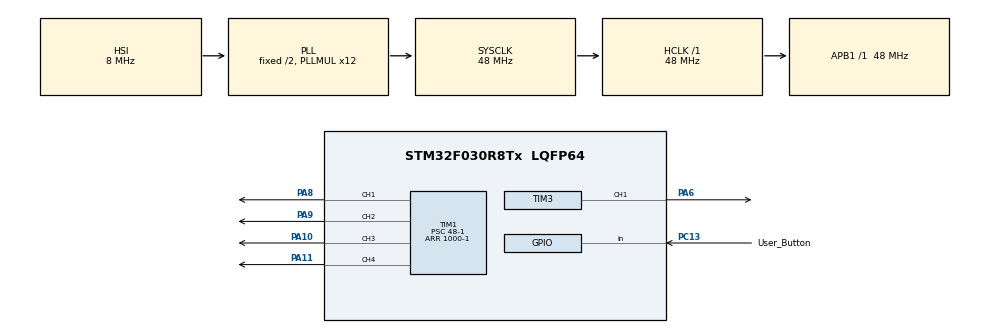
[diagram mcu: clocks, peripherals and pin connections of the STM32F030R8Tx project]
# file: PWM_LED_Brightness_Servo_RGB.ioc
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Mcu.Family=STM32F0
Mcu.Name=STM32F030R8Tx
Mcu.Package=LQFP64
PA10.Signal=S_TIM1_CH3
PA11.Signal=S_TIM1_CH4
PA13.Mode=Serial_Wire
PA13.Signal=SYS_SWDIO
PA14.Mode=Serial_Wire
PA14.Signal=SYS_SWCLK
PA6.Signal=S_TIM3_CH1
PA8.Signal=S_TIM1_CH1
PA9.Signal=S_TIM1_CH2
PC13.GPIO_Label=User_Button
PC13.Signal=GPIO_Input
ProjectManager.HeapSize=0x200
ProjectManager.StackSize=0x400
ProjectManager.TargetToolchain=STM32CubeIDE
RCC.AHBFreq_Value=48000000
RCC.APB1Freq_Value=48000000
RCC.APB1TimFreq_Value=48000000
RCC.HCLKFreq_Value=48000000
RCC.PLLMUL=RCC_PLL_MUL12
RCC.SYSCLKFreq_VALUE=48000000
RCC.SYSCLKSource=RCC_SYSCLKSOURCE_PLLCLK
SH.S_TIM1_CH1.0=TIM1_CH1,PWM Generation1 CH1
SH.S_TIM1_CH2.0=TIM1_CH2,PWM Generation2 CH2
SH.S_TIM1_CH3.0=TIM1_CH3,PWM Generation3 CH3
SH.S_TIM1_CH4.0=TIM1_CH4,PWM Generation4 CH4
SH.S_TIM3_CH1.0=TIM3_CH1,PWM Generation1 CH1
TIM1.Channel-PWM\ Generation1\ CH1=TIM_CHANNEL_1
TIM1.Channel-PWM\ Generation2\ CH2=TIM_CHANNEL_2
TIM1.Channel-PWM\ Generation3\ CH3=TIM_CHANNEL_3
TIM1.Channel-PWM\ Generation4\ CH4=TIM_CHANNEL_4
TIM1.Period=1000-1
TIM1.Prescaler=48-1
TIM3.Channel-PWM\ Generation1\ CH1=TIM_CHANNEL_1
TIM3.Period=20000-1
TIM3.Prescaler=48-1
VP_TIM1_VS_ClockSourceINT.Mode=Internal
VP_TIM3_VS_ClockSourceINT.Mode=Internal
board=NUCLEO-F030R8

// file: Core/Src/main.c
/* USER CODE BEGIN Header */
/**
 ******************************************************************************
 * @file           : main.c
 * @brief          : Main program body
 ******************************************************************************
 * @attention
 *
 * Copyright (c) 2026 STMicroelectronics.
 * All rights reserved.
 *
 * This software is licensed under terms that can be found in the LICENSE file
 * in the root directory of this software component.
 * If no LICENSE file comes with this software, it is provided AS-IS.
 *
 ******************************************************************************
 */
/* USER CODE END Header */
#include "main.h"

TIM_HandleTypeDef htim1;
TIM_HandleTypeDef htim3;

/* USER CODE BEGIN PV */
uint8_t rgb_state = 0; // Butona basılma durumunu tutar (0: Kapalı, 1: Kırmızı, 2: Yeşil, 3: Mavi)
uint8_t button_last_state = 1; // Butonun önceki durumu (Pull-up buton için varsayılan 1)
int16_t servo_angle = 0;       // Servo açısı (0 - 180 arası)
int8_t servo_direction = 1;    // Servo yönü (+1 ileri, -1 geri)
uint32_t led_last_tick = 0;      // PA8 LED parlaklık zamanlayıcısı için
uint8_t led_duty_index = 0;      // 0,25,50,75,100 sırasını takip eder
const uint8_t led_duty_steps[5] = { 0, 25, 50, 75, 100 };	//sabit duty değerlerini saklamak için oluşturuldu
/* USER CODE END PV */

void SystemClock_Config(void);
static void MX_GPIO_Init(void);
static void MX_TIM1_Init(void);
static void MX_TIM3_Init(void);

/* USER CODE BEGIN 0 */
void Set_PWM_Duty_Cycle(uint16_t duty) {	//bu fonksiyon, LED parlaklığını ayarlamak için duty cycle değiştirmek için yazıldı
	if (duty > 100) {
		duty = 100;   // 100'ü aşan değerleri sınırla
	}
	__HAL_TIM_SET_COMPARE(&htim1, TIM_CHANNEL_1, duty * 10);	//Bu makro, STM32 mikrodenetleyicilerinde üretilen PWM sinyalinin Duty Cycle (Görev Döngüsü / Doluluk Oranı) değerini anlık olarak değiştirmek için kullanılan donanımsal bir makro komuttur. Bu komut, doğrudan ilgili Timer'ın CCR (Capture/Compare Register) adındaki donanım kaydına (hafıza hücresine) belirlediğiniz "Pulse" (adım) değerini yazar. Bu komut arka planda karmaşık C kodları çalıştırmaz. Doğrudan işlemcinin register adresine eriştiği için sadece 1 veya 2 saat çevriminde (birkaç nanosaniyede) tamamlanır. Bu sayede motor kontrolü veya hassas LED parlaklık ayarı yaparken işlemciyi hiç yormaz ve gecikmeye neden olmaz.
}
/* USER CODE END 0 */

int main(void) {

	/* MCU Configuration--------------------------------------------------------*/

	/* Reset of all peripherals, Initializes the Flash interface and the Systick. */
	HAL_Init();

	/* Configure the system clock */
	SystemClock_Config();

	/* Initialize all configured peripherals */
	MX_GPIO_Init();
	MX_TIM1_Init();
	MX_TIM3_Init();
	/* USER CODE BEGIN 2 */
	HAL_TIM_PWM_Start(&htim1, TIM_CHANNEL_1); //timer1 in kanal1 den PWM baslatmasi icin yazildi, LED parlaklığı ayarlanacak
	HAL_TIM_PWM_Start(&htim1, TIM_CHANNEL_2); //timer1 in kanal2 den PWM baslatmasi icin yazildi, RGB - Kırmızı
	HAL_TIM_PWM_Start(&htim1, TIM_CHANNEL_3); //timer1 in kanal3 den PWM baslatmasi icin yazildi, RGB - Yeşil
	HAL_TIM_PWM_Start(&htim1, TIM_CHANNEL_4); //timer1 in kanal4 den PWM baslatmasi icin yazildi, RGB - Mavi

	// Timer 3 PWM Kanalını Başlat (Servo için)
	HAL_TIM_PWM_Start(&htim3, TIM_CHANNEL_1); //timer3 ün kanal1 den PWM baslatmasi icin yazildi, servo kontrol MG995

	/* USER CODE END 2 */

	/* Infinite loop */
	/* USER CODE BEGIN WHILE */
	while (1) {
		/* --- 1. BUTON VE RGB LED KONTROLÜ --- */
		// Butonun basılıp basılmadığını kontrol et (Mavi buton basılınca 0 verir)
		uint8_t button_current_state = HAL_GPIO_ReadPin(GPIOC, GPIO_PIN_13);

		if (button_current_state == 0 && button_last_state == 1) // Yükselen kenar/Düşen kenar kontrolü (Debounce koruması ile)
				{
			HAL_Delay(50); // Buton arkını (titreşimi) önlemek için kısa gecikme

			rgb_state++;
			if (rgb_state > 3)
				rgb_state = 1; // 1: Kırmızı, 2: Yeşil, 3: Mavi döngüsü

			// Önce tüm RGB renkleri kapat (ARR=999 için Pulse=0 tamamen kapatır)
			__HAL_TIM_SET_COMPARE(&htim1, TIM_CHANNEL_2, 0);
			__HAL_TIM_SET_COMPARE(&htim1, TIM_CHANNEL_3, 0);
			__HAL_TIM_SET_COMPARE(&htim1, TIM_CHANNEL_4, 0);

			// Aktif olan rengi %100 parlaklıkta yak (Pulse=999)
			if (rgb_state == 1)
				__HAL_TIM_SET_COMPARE(&htim1, TIM_CHANNEL_2, 999); // Kırmızı Açık
			else if (rgb_state == 2)
				__HAL_TIM_SET_COMPARE(&htim1, TIM_CHANNEL_3, 999); // Yeşil Açık
			else if (rgb_state == 3)
				__HAL_TIM_SET_COMPARE(&htim1, TIM_CHANNEL_4, 999); // Mavi Açık
		}
		button_last_state = button_current_state;

		/* --- 2. SERVO MOTOR 0-180 DERECE HAREKETİ --- */
		// MG995 için: 0 derece = 1ms pulse (Pulse değeri 1000)
		// 180 derece = 2ms pulse (Pulse değeri 2000)
		// Açı değerini pulse değerine doğrusal (map) olarak dönüştürüyoruz:
		uint16_t servo_pulse = 1000 + ((servo_angle * 1000) / 180);
		__HAL_TIM_SET_COMPARE(&htim3, TIM_CHANNEL_1, servo_pulse);

		// Açıyı sürekli değiştirerek ileri-geri hareket ettir
		servo_angle += servo_direction;
		if (servo_angle >= 180) {
			servo_angle = 180;
			servo_direction = -1; // Ters yöne dön
		} else if (servo_angle <= 0) {
			servo_angle = 0;
			servo_direction = 1;  // İleri yöne dön
		}

		/* --- 3. PA8 LED PARLAKLIK KONTROLÜ (1 SANİYEDE BİR ARTAN DUTY CYCLE) --- */
		if (HAL_GetTick() - led_last_tick >= 1000) {
			led_last_tick = HAL_GetTick();

			Set_PWM_Duty_Cycle(led_duty_steps[led_duty_index]);

			led_duty_index++;
			if (led_duty_index >= 5) {
				led_duty_index = 0;   // 0'a dön, döngü baştan başlasın
			}
		}

		HAL_Delay(15); // Servonun mekanik olarak yetişebilmesi ve hareketin yumuşak olması için küçük bir bekleme
		/* USER CODE END WHILE */

		/* USER CODE BEGIN 3 */
		/*
		 Set_PWM_Duty_Cycle(0);
		 HAL_Delay(1000);

		 Set_PWM_Duty_Cycle(25);
		 HAL_Delay(1000);

		 Set_PWM_Duty_Cycle(50);
		 HAL_Delay(1000);

		 Set_PWM_Duty_Cycle(75);
		 HAL_Delay(1000);

		 Set_PWM_Duty_Cycle(100);
		 HAL_Delay(1000);
		 */
	}
	/* USER CODE END 3 */
}

void SystemClock_Config(void) {
	RCC_OscInitTypeDef RCC_OscInitStruct = { 0 };
	RCC_ClkInitTypeDef RCC_ClkInitStruct = { 0 };

	/** Initializes the RCC Oscillators according to the specified parameters
	 * in the RCC_OscInitTypeDef structure.
	 */
	RCC_OscInitStruct.OscillatorType = RCC_OSCILLATORTYPE_HSI;
	RCC_OscInitStruct.HSIState = RCC_HSI_ON;
	RCC_OscInitStruct.HSICalibrationValue = RCC_HSICALIBRATION_DEFAULT;
	RCC_OscInitStruct.PLL.PLLState = RCC_PLL_ON;
	RCC_OscInitStruct.PLL.PLLSource = RCC_PLLSOURCE_HSI;
	RCC_OscInitStruct.PLL.PLLMUL = RCC_PLL_MUL12;
	RCC_OscInitStruct.PLL.PREDIV = RCC_PREDIV_DIV1;
	if (HAL_RCC_OscConfig(&RCC_OscInitStruct) != HAL_OK) {
		Error_Handler();
	}

	/** Initializes the CPU, AHB and APB buses clocks
	 */
	RCC_ClkInitStruct.ClockType = RCC_CLOCKTYPE_HCLK | RCC_CLOCKTYPE_SYSCLK
			| RCC_CLOCKTYPE_PCLK1;
	RCC_ClkInitStruct.SYSCLKSource = RCC_SYSCLKSOURCE_PLLCLK;
	RCC_ClkInitStruct.AHBCLKDivider = RCC_SYSCLK_DIV1;
	RCC_ClkInitStruct.APB1CLKDivider = RCC_HCLK_DIV1;

	if (HAL_RCC_ClockConfig(&RCC_ClkInitStruct, FLASH_LATENCY_1) != HAL_OK) {
		Error_Handler();
	}
}

static void MX_TIM1_Init(void) {

	TIM_ClockConfigTypeDef sClockSourceConfig = { 0 };
	TIM_MasterConfigTypeDef sMasterConfig = { 0 };
	TIM_OC_InitTypeDef sConfigOC = { 0 };
	TIM_BreakDeadTimeConfigTypeDef sBreakDeadTimeConfig = { 0 };

	htim1.Instance = TIM1;
	htim1.Init.Prescaler = 48 - 1;
	htim1.Init.CounterMode = TIM_COUNTERMODE_UP;
	htim1.Init.Period = 1000 - 1;
	htim1.Init.ClockDivision = TIM_CLOCKDIVISION_DIV1;
	htim1.Init.RepetitionCounter = 0;
	htim1.Init.AutoReloadPreload = TIM_AUTORELOAD_PRELOAD_DISABLE;
	if (HAL_TIM_Base_Init(&htim1) != HAL_OK) {
		Error_Handler();
	}
	sClockSourceConfig.ClockSource = TIM_CLOCKSOURCE_INTERNAL;
	if (HAL_TIM_ConfigClockSource(&htim1, &sClockSourceConfig) != HAL_OK) {
		Error_Handler();
	}
	if (HAL_TIM_PWM_Init(&htim1) != HAL_OK) {
		Error_Handler();
	}
	sMasterConfig.MasterOutputTrigger = TIM_TRGO_RESET;
	sMasterConfig.MasterSlaveMode = TIM_MASTERSLAVEMODE_DISABLE;
	if (HAL_TIMEx_MasterConfigSynchronization(&htim1, &sMasterConfig)
			!= HAL_OK) {
		Error_Handler();
	}
	sConfigOC.OCMode = TIM_OCMODE_PWM1;
	sConfigOC.Pulse = 0;
	sConfigOC.OCPolarity = TIM_OCPOLARITY_HIGH;
	sConfigOC.OCNPolarity = TIM_OCNPOLARITY_HIGH;
	sConfigOC.OCFastMode = TIM_OCFAST_DISABLE;
	sConfigOC.OCIdleState = TIM_OCIDLESTATE_RESET;
	sConfigOC.OCNIdleState = TIM_OCNIDLESTATE_RESET;
	if (HAL_TIM_PWM_ConfigChannel(&htim1, &sConfigOC, TIM_CHANNEL_1)
			!= HAL_OK) {
		Error_Handler();
	}
	if (HAL_TIM_PWM_ConfigChannel(&htim1, &sConfigOC, TIM_CHANNEL_2)
			!= HAL_OK) {
		Error_Handler();
	}
	if (HAL_TIM_PWM_ConfigChannel(&htim1, &sConfigOC, TIM_CHANNEL_3)
			!= HAL_OK) {
		Error_Handler();
	}
	if (HAL_TIM_PWM_ConfigChannel(&htim1, &sConfigOC, TIM_CHANNEL_4)
			!= HAL_OK) {
		Error_Handler();
	}
	sBreakDeadTimeConfig.OffStateRunMode = TIM_OSSR_DISABLE;
	sBreakDeadTimeConfig.OffStateIDLEMode = TIM_OSSI_DISABLE;
	sBreakDeadTimeConfig.LockLevel = TIM_LOCKLEVEL_OFF;
	sBreakDeadTimeConfig.DeadTime = 0;
	sBreakDeadTimeConfig.BreakState = TIM_BREAK_DISABLE;
	sBreakDeadTimeConfig.BreakPolarity = TIM_BREAKPOLARITY_HIGH;
	sBreakDeadTimeConfig.AutomaticOutput = TIM_AUTOMATICOUTPUT_DISABLE;
	if (HAL_TIMEx_ConfigBreakDeadTime(&htim1, &sBreakDeadTimeConfig)
			!= HAL_OK) {
		Error_Handler();
	}
	HAL_TIM_MspPostInit(&htim1);

}

static void MX_TIM3_Init(void) {

	TIM_ClockConfigTypeDef sClockSourceConfig = { 0 };
	TIM_MasterConfigTypeDef sMasterConfig = { 0 };
	TIM_OC_InitTypeDef sConfigOC = { 0 };

	htim3.Instance = TIM3;
	htim3.Init.Prescaler = 48 - 1;
	htim3.Init.CounterMode = TIM_COUNTERMODE_UP;
	htim3.Init.Period = 20000 - 1;
	htim3.Init.ClockDivision = TIM_CLOCKDIVISION_DIV1;
	htim3.Init.AutoReloadPreload = TIM_AUTORELOAD_PRELOAD_DISABLE;
	if (HAL_TIM_Base_Init(&htim3) != HAL_OK) {
		Error_Handler();
	}
	sClockSourceConfig.ClockSource = TIM_CLOCKSOURCE_INTERNAL;
	if (HAL_TIM_ConfigClockSource(&htim3, &sClockSourceConfig) != HAL_OK) {
		Error_Handler();
	}
	if (HAL_TIM_PWM_Init(&htim3) != HAL_OK) {
		Error_Handler();
	}
	sMasterConfig.MasterOutputTrigger = TIM_TRGO_RESET;
	sMasterConfig.MasterSlaveMode = TIM_MASTERSLAVEMODE_DISABLE;
	if (HAL_TIMEx_MasterConfigSynchronization(&htim3, &sMasterConfig)
			!= HAL_OK) {
		Error_Handler();
	}
	sConfigOC.OCMode = TIM_OCMODE_PWM1;
	sConfigOC.Pulse = 0;
	sConfigOC.OCPolarity = TIM_OCPOLARITY_HIGH;
	sConfigOC.OCFastMode = TIM_OCFAST_DISABLE;
	if (HAL_TIM_PWM_ConfigChannel(&htim3, &sConfigOC, TIM_CHANNEL_1)
			!= HAL_OK) {
		Error_Handler();
	}
	HAL_TIM_MspPostInit(&htim3);

}

static void MX_GPIO_Init(void) {
	GPIO_InitTypeDef GPIO_InitStruct = { 0 };

	/* GPIO Ports Clock Enable */
	__HAL_RCC_GPIOC_CLK_ENABLE();
	__HAL_RCC_GPIOA_CLK_ENABLE();

	/*Configure GPIO pin : User_Button_Pin */
	GPIO_InitStruct.Pin = User_Button_Pin;
	GPIO_InitStruct.Mode = GPIO_MODE_INPUT;
	GPIO_InitStruct.Pull = GPIO_NOPULL;
	HAL_GPIO_Init(User_Button_GPIO_Port, &GPIO_InitStruct);

}

void Error_Handler(void) {
	__disable_irq();
	while (1) {
	}
}
